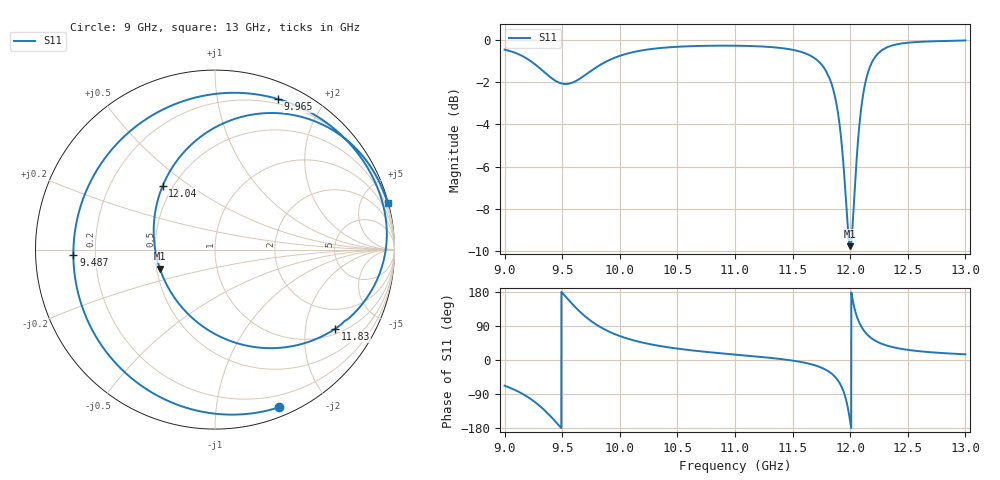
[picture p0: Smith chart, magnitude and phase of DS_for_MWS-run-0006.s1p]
! TOUCHSTONE file generated by CST DESIGN STUDIO
! Date and time: Tue Feb  4 17:57:30 2025
! Project name: C:\Work\MatlabApps\UnitCellOptimizationMatlab\CST\unitcell.cst
! Tree item: Tasks\Sweep1\SPara1\S-Parameters
! Header version: 2024
! Port assignment regex: !\s*Touchstone port\s*([0-9]+)\s*=\s*(CST MWS port|CST DES external port|CST DES block port)\s*(.+)\s* \(\"(.*)\"\)(\s*mode\s*([0-9]+))?.*
! Touchstone port assignment:
! Touchstone port 1 = CST DES external port 1 ("")
# GHz S MA R 50
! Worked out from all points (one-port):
!   4001 points, 9 GHz to 13 GHz, reference 50 ohm
!   lowest |S11| = -9.8 dB at 12 GHz (marker M1), VSWR 1.96, Z = 26 - j6.2 ohm
!   |S11| at or under -10 dB: nowhere
!   S11 on the Smith chart (normalised r, x): 9 GHz: 0.09, -1.48; 9.487 GHz: 0.12, -0.02; 9.965 GHz: 0.15, +1.49; 11.83 GHz: 1.17, -2.90; 12.04 GHz: 0.44, +0.40; 13 GHz: 0.09, +7.60
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9  0.9482 -67.8
9.155  0.9156 -89.3
9.268  0.8737 -112.1
9.369  0.8282 -139.2
9.487  0.7897 -178.0
9.5  0.788 177.5
9.611  0.7973 140.3
9.709  0.8293 112.7
9.819  0.869 89.1
9.965  0.9096 67.3
10  0.9169 63.2
10.215  0.9467 44.8
10.5  0.9632 30.0
11  0.9689 14.3
11.5  0.9475 -1.6
11.707  0.8984 -15.3
11.828  0.8016 -33.4
11.93  0.5527 -73.7
11.964  0.4135 -104.6
11.999  0.3249 -160.8
12  0.3249 -162.8
12.043  0.4593 129.4
12.077  0.6174 99.9
12.113  0.7446 80.2
12.223  0.916 49.9
12.334  0.9638 36.7
12.5  0.9848 26.8
13  0.997 15.0
